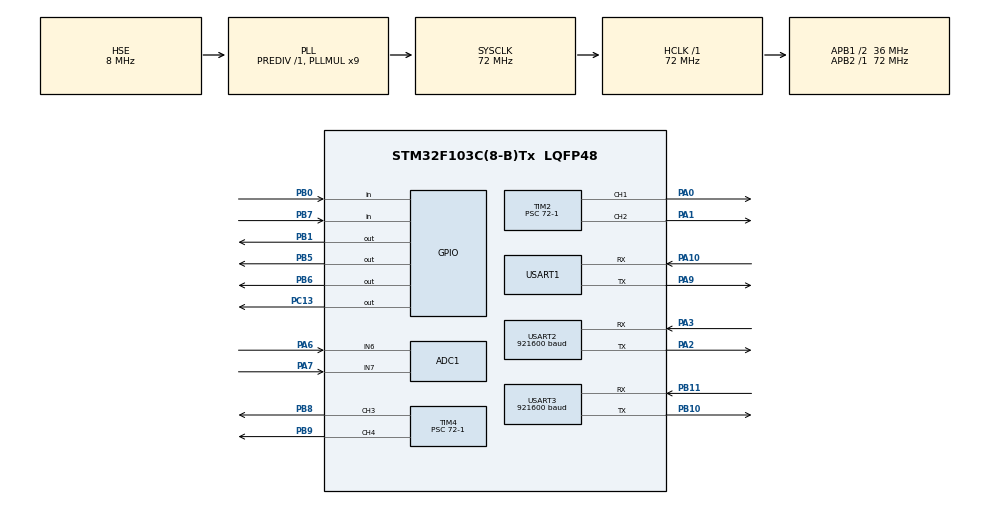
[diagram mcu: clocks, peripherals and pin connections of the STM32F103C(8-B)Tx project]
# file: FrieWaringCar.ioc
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ADC1.Channel-0\#ChannelRegularConversion=ADC_CHANNEL_6
ADC1.Channel-1\#ChannelRegularConversion=ADC_CHANNEL_7
ADC1.Channel-2\#ChannelRegularConversion=ADC_CHANNEL_VREFINT
ADC1.ContinuousConvMode=ENABLE
ADC1.NbrOfConversion=3
ADC1.NbrOfConversionFlag=1
ADC1.Rank-0\#ChannelRegularConversion=1
ADC1.Rank-1\#ChannelRegularConversion=2
ADC1.Rank-2\#ChannelRegularConversion=3
ADC1.SamplingTime-0\#ChannelRegularConversion=ADC_SAMPLETIME_71CYCLES_5
ADC1.SamplingTime-1\#ChannelRegularConversion=ADC_SAMPLETIME_71CYCLES_5
ADC1.SamplingTime-2\#ChannelRegularConversion=ADC_SAMPLETIME_71CYCLES_5
ADC1.master=1
Dma.ADC1.3.Direction=DMA_PERIPH_TO_MEMORY
Dma.ADC1.3.Instance=DMA1_Channel1
Dma.ADC1.3.MemDataAlignment=DMA_MDATAALIGN_HALFWORD
Dma.ADC1.3.MemInc=DMA_MINC_ENABLE
Dma.ADC1.3.Mode=DMA_CIRCULAR
Dma.ADC1.3.PeriphDataAlignment=DMA_PDATAALIGN_HALFWORD
Dma.ADC1.3.PeriphInc=DMA_PINC_DISABLE
Dma.ADC1.3.Priority=DMA_PRIORITY_LOW
Dma.Request0=USART3_RX
Dma.Request1=USART2_TX
Dma.Request2=USART2_RX
Dma.Request3=ADC1
Dma.Request4=USART1_RX
Dma.USART1_RX.4.Direction=DMA_PERIPH_TO_MEMORY
Dma.USART1_RX.4.Instance=DMA1_Channel5
Dma.USART1_RX.4.MemDataAlignment=DMA_MDATAALIGN_BYTE
Dma.USART1_RX.4.MemInc=DMA_MINC_ENABLE
Dma.USART1_RX.4.Mode=DMA_NORMAL
Dma.USART1_RX.4.PeriphDataAlignment=DMA_PDATAALIGN_BYTE
Dma.USART1_RX.4.PeriphInc=DMA_PINC_DISABLE
Dma.USART1_RX.4.Priority=DMA_PRIORITY_LOW
Dma.USART2_RX.2.Direction=DMA_PERIPH_TO_MEMORY
Dma.USART2_RX.2.Instance=DMA1_Channel6
Dma.USART2_RX.2.MemDataAlignment=DMA_MDATAALIGN_BYTE
Dma.USART2_RX.2.MemInc=DMA_MINC_ENABLE
Dma.USART2_RX.2.Mode=DMA_NORMAL
Dma.USART2_RX.2.PeriphDataAlignment=DMA_PDATAALIGN_BYTE
Dma.USART2_RX.2.PeriphInc=DMA_PINC_DISABLE
Dma.USART2_RX.2.Priority=DMA_PRIORITY_LOW
Dma.USART2_TX.1.Direction=DMA_MEMORY_TO_PERIPH
Dma.USART2_TX.1.Instance=DMA1_Channel7
Dma.USART2_TX.1.MemDataAlignment=DMA_MDATAALIGN_BYTE
Dma.USART2_TX.1.MemInc=DMA_MINC_ENABLE
Dma.USART2_TX.1.Mode=DMA_NORMAL
Dma.USART2_TX.1.PeriphDataAlignment=DMA_PDATAALIGN_BYTE
Dma.USART2_TX.1.PeriphInc=DMA_PINC_DISABLE
Dma.USART2_TX.1.Priority=DMA_PRIORITY_HIGH
Dma.USART3_RX.0.Direction=DMA_PERIPH_TO_MEMORY
Dma.USART3_RX.0.Instance=DMA1_Channel3
Dma.USART3_RX.0.MemDataAlignment=DMA_MDATAALIGN_BYTE
Dma.USART3_RX.0.MemInc=DMA_MINC_ENABLE
Dma.USART3_RX.0.Mode=DMA_NORMAL
Dma.USART3_RX.0.PeriphDataAlignment=DMA_PDATAALIGN_BYTE
Dma.USART3_RX.0.PeriphInc=DMA_PINC_DISABLE
Dma.USART3_RX.0.Priority=DMA_PRIORITY_HIGH
Mcu.Family=STM32F1
Mcu.Name=STM32F103C(8-B)Tx
Mcu.Package=LQFP48
NVIC.ADC1_2_IRQn=true\:0\:0\:false\:false\:true\:true\:true\:true
NVIC.DMA1_Channel1_IRQn=true\:0\:0\:false\:false\:true\:false\:true\:true
NVIC.DMA1_Channel3_IRQn=true\:0\:0\:false\:false\:true\:false\:true\:true
NVIC.DMA1_Channel5_IRQn=true\:0\:0\:false\:true\:true\:1\:false\:true\:true
NVIC.DMA1_Channel6_IRQn=true\:0\:0\:false\:false\:true\:false\:true\:true
NVIC.DMA1_Channel7_IRQn=true\:0\:0\:false\:false\:true\:false\:true\:true
NVIC.PriorityGroup=NVIC_PRIORITYGROUP_4
NVIC.TIM2_IRQn=true\:0\:0\:false\:false\:true\:true\:true\:true
NVIC.TIM3_IRQn=true\:0\:0\:false\:false\:true\:true\:true\:true
NVIC.USART1_IRQn=true\:2\:0\:true\:false\:true\:true\:true\:true
NVIC.USART2_IRQn=true\:0\:0\:false\:false\:true\:true\:true\:true
NVIC.USART3_IRQn=true\:0\:0\:false\:false\:true\:true\:true\:true
PA0-WKUP.Signal=S_TIM2_CH1_ETR
PA1.Signal=S_TIM2_CH2
PA10.Mode=Asynchronous
PA10.Signal=USART1_RX
PA13.Mode=Serial_Wire
PA13.Signal=SYS_JTMS-SWDIO
PA14.Mode=Serial_Wire
PA14.Signal=SYS_JTCK-SWCLK
PA2.Mode=Asynchronous
PA2.Signal=USART2_TX
PA3.Mode=Asynchronous
PA3.Signal=USART2_RX
PA6.Signal=ADCx_IN6
PA7.Signal=ADCx_IN7
PA9.Mode=Asynchronous
PA9.Signal=USART1_TX
PB0.Signal=GPIO_Input
PB1.Signal=GPIO_Output
PB10.Mode=Asynchronous
PB10.Signal=USART3_TX
PB11.Mode=Asynchronous
PB11.Signal=USART3_RX
PB5.Signal=GPIO_Output
PB6.PinState=GPIO_PIN_SET
PB6.Signal=GPIO_Output
PB7.Signal=GPIO_Input
PB8.Signal=S_TIM4_CH3
PB9.Signal=S_TIM4_CH4
PC13-TAMPER-RTC.Signal=GPIO_Output
PD0-OSC_IN.Mode=HSE-External-Oscillator
PD0-OSC_IN.Signal=RCC_OSC_IN
PD1-OSC_OUT.Mode=HSE-External-Oscillator
PD1-OSC_OUT.Signal=RCC_OSC_OUT
ProjectManager.HeapSize=0x200
ProjectManager.StackSize=0x400
ProjectManager.TargetToolchain=MDK-ARM V5.32
RCC.ADCPresc=RCC_ADCPCLK2_DIV6
RCC.AHBFreq_Value=72000000
RCC.APB1CLKDivider=RCC_HCLK_DIV2
RCC.APB1Freq_Value=36000000
RCC.APB1TimFreq_Value=72000000
RCC.APB2Freq_Value=72000000
RCC.APB2TimFreq_Value=72000000
RCC.HCLKFreq_Value=72000000
RCC.PLLMUL=RCC_PLL_MUL9
RCC.PLLSourceVirtual=RCC_PLLSOURCE_HSE
RCC.SYSCLKFreq_VALUE=72000000
RCC.SYSCLKSource=RCC_SYSCLKSOURCE_PLLCLK
RCC.USBFreq_Value=72000000
SH.ADCx_IN6.0=ADC1_IN6,IN6
SH.ADCx_IN7.0=ADC1_IN7,IN7
SH.S_TIM2_CH1_ETR.0=TIM2_CH1,PWM Generation1 CH1
SH.S_TIM2_CH2.0=TIM2_CH2,PWM Generation2 CH2
SH.S_TIM4_CH3.0=TIM4_CH3,PWM Generation3 CH3
SH.S_TIM4_CH4.0=TIM4_CH4,PWM Generation4 CH4
TIM1.Period=50000-1
TIM1.Prescaler=72-1
TIM2.Channel-PWM\ Generation1\ CH1=TIM_CHANNEL_1
TIM2.Channel-PWM\ Generation2\ CH2=TIM_CHANNEL_2
TIM2.Period=1000-1
TIM2.Prescaler=72-1
TIM3.Period=60000-1
TIM3.Prescaler=72-1
TIM4.Channel-PWM\ Generation3\ CH3=TIM_CHANNEL_3
TIM4.Channel-PWM\ Generation4\ CH4=TIM_CHANNEL_4
TIM4.Period=1000-1
TIM4.Prescaler=72-1
USART1.VirtualMode=VM_ASYNC
USART2.BaudRate=921600
USART2.VirtualMode=VM_ASYNC
USART3.BaudRate=921600
USART3.VirtualMode=VM_ASYNC
VP_ADC1_Vref_Input.Mode=IN-Vrefint
VP_TIM1_VS_ClockSourceINT.Mode=Internal
VP_TIM3_VS_ClockSourceINT.Mode=Internal
board=custom

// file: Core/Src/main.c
/* USER CODE BEGIN Header */
/**
  ******************************************************************************
  * @file           : main.c
  * @brief          : Main program body
  ******************************************************************************
  * @attention
  *
  * Copyright (c) 2025 STMicroelectronics.
  * All rights reserved.
  *
  * This software is licensed under terms that can be found in the LICENSE file
  * in the root directory of this software component.
  * If no LICENSE file comes with this software, it is provided AS-IS.
  *
  ******************************************************************************
  */
/* USER CODE END Header */
#include "main.h"
#include "adc.h"
#include "dma.h"
#include "tim.h"
#include "usart.h"
#include "gpio.h"

/* USER CODE BEGIN Includes */
#include "hc_sr04.h"
#include "tcrt5000.h"
#include "tcp.h"
#include "car.h"
/* USER CODE END Includes */

void SystemClock_Config(void);
static void MX_NVIC_Init(void);

int main(void)
{

  /* MCU Configuration--------------------------------------------------------*/

  /* Reset of all peripherals, Initializes the Flash interface and the Systick. */
  HAL_Init();

  /* Configure the system clock */
  SystemClock_Config();

  /* Initialize all configured peripherals */
  MX_GPIO_Init();
  MX_DMA_Init();
  MX_USART1_UART_Init();
  MX_ADC1_Init();
  MX_TIM2_Init();
  MX_TIM4_Init();
  MX_TIM3_Init();
  MX_TIM1_Init();
  MX_USART2_UART_Init();
  MX_USART3_UART_Init();

  /* Initialize interrupts */
  MX_NVIC_Init();
  /* USER CODE BEGIN 2 */
    char* K210_Command = "START";

    Start_ADC_Conversion(); // 启动 ADC 功能，检测循迹模块电压
  /* USER CODE END 2 */

  /* Infinite loop */
  /* USER CODE BEGIN WHILE */
    printf("start\n");
    TCP_Init(); // WiFi模块初始化

    HAL_Delay(2000); // 等待连接稳定

    HAL_UART_Transmit_IT(&huart3, (uint8_t*)K210_Command, sizeof(K210_Command)); // 启动k210 图像传输
    printf("uart3 send start\n");
    while (1) {
        Fire_Warning();
//        if (is_alarming)    // 当检测到火焰
//        {
//            HAL_Delay(1000); // 持续报警
//            HAL_GPIO_WritePin(GPIOC, GPIO_PIN_13, GPIO_PIN_RESET); // 停止报警
//            printf("Warning_Stop\n");
//            is_alarming = 0; // 结束报警
//            HAL_UART_Receive_DMA(&huart1, UART1_RXBuffer, BufferLength);
//        }
        switch (currentMode) {
            case CONTROL_MODE:
                // 遥控模式下的操作
                Motor_Control(UART2_RXBuffer);
                HAL_Delay(230);  // 等待一定时间
                break;
            case TRACE_MODE:
                // 循迹模式下的操作
                ADC_Output();
//                Motor_TraceAndAvoid();
                HAL_Delay(20);
                break;
            default:
                // 如果遇到未知模式，可以加个默认处理
                printf("Unknown mode\n");
                break;
        }

    /* USER CODE END WHILE */

    }
}

void SystemClock_Config(void)
{
  RCC_OscInitTypeDef RCC_OscInitStruct = {0};
  RCC_ClkInitTypeDef RCC_ClkInitStruct = {0};
  RCC_PeriphCLKInitTypeDef PeriphClkInit = {0};

  /** Initializes the RCC Oscillators according to the specified parameters
  * in the RCC_OscInitTypeDef structure.
  */
  RCC_OscInitStruct.OscillatorType = RCC_OSCILLATORTYPE_HSE;
  RCC_OscInitStruct.HSEState = RCC_HSE_ON;
  RCC_OscInitStruct.HSEPredivValue = RCC_HSE_PREDIV_DIV1;
  RCC_OscInitStruct.HSIState = RCC_HSI_ON;
  RCC_OscInitStruct.PLL.PLLState = RCC_PLL_ON;
  RCC_OscInitStruct.PLL.PLLSource = RCC_PLLSOURCE_HSE;
  RCC_OscInitStruct.PLL.PLLMUL = RCC_PLL_MUL9;
  if (HAL_RCC_OscConfig(&RCC_OscInitStruct) != HAL_OK)
  {
    Error_Handler();
  }

  /** Initializes the CPU, AHB and APB buses clocks
  */
  RCC_ClkInitStruct.ClockType = RCC_CLOCKTYPE_HCLK|RCC_CLOCKTYPE_SYSCLK
                              |RCC_CLOCKTYPE_PCLK1|RCC_CLOCKTYPE_PCLK2;
  RCC_ClkInitStruct.SYSCLKSource = RCC_SYSCLKSOURCE_PLLCLK;
  RCC_ClkInitStruct.AHBCLKDivider = RCC_SYSCLK_DIV1;
  RCC_ClkInitStruct.APB1CLKDivider = RCC_HCLK_DIV2;
  RCC_ClkInitStruct.APB2CLKDivider = RCC_HCLK_DIV1;

  if (HAL_RCC_ClockConfig(&RCC_ClkInitStruct, FLASH_LATENCY_2) != HAL_OK)
  {
    Error_Handler();
  }
  PeriphClkInit.PeriphClockSelection = RCC_PERIPHCLK_ADC;
  PeriphClkInit.AdcClockSelection = RCC_ADCPCLK2_DIV6;
  if (HAL_RCCEx_PeriphCLKConfig(&PeriphClkInit) != HAL_OK)
  {
    Error_Handler();
  }
}

/**
  * @brief NVIC Configuration.
  * @retval None
  */
static void MX_NVIC_Init(void)
{
  /* DMA1_Channel5_IRQn interrupt configuration */
  HAL_NVIC_SetPriority(DMA1_Channel5_IRQn, 0, 0);
  HAL_NVIC_EnableIRQ(DMA1_Channel5_IRQn);
}

void Error_Handler(void)
{
    __disable_irq();
    while (1) {
    }
}
